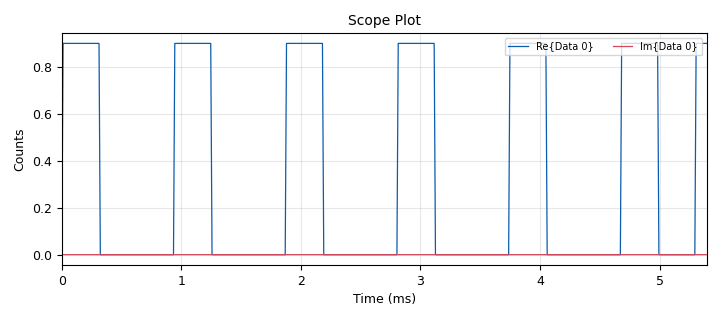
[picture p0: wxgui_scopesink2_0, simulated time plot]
<?xml version='1.0' encoding='utf-8'?>
<?grc format='1' created='3.7.7'?>
<flow_graph>
<block>
<key>options</key>
<param><key>id</key><value>ceiling_fan_tx</value></param>
<param><key>generate_options</key><value>wx_gui</value></param>
<param><key>category</key><value>Custom</value></param>
</block>
<block>
<key>variable</key>
<param><key>id</key><value>center_freq</value></param>
<param><key>value</key><value>303747000</value></param>
</block>
<block>
<key>variable</key>
<param><key>id</key><value>samp_rate</value></param>
<param><key>value</key><value>baud_rate*interp</value></param>
</block>
<block>
<key>variable</key>
<param><key>id</key><value>interp</value></param>
<param><key>value</key><value>600</value></param>
</block>
<block>
<key>variable</key>
<param><key>id</key><value>baud_rate</value></param>
<param><key>value</key><value>3211</value></param>
</block>
<block>
<key>variable_slider</key>
<param><key>id</key><value>gain</value></param>
<param><key>label</key><value></value></param>
<param><key>value</key><value>15</value></param>
<param><key>min</key><value>0</value></param>
<param><key>max</key><value>25</value></param>
<param><key>num_steps</key><value>50</value></param>
<param><key>style</key><value>wx.SL_HORIZONTAL</value></param>
<param><key>converver</key><value>float_converter</value></param>
</block>
<block>
<key>blocks_vector_source_x</key>
<param><key>id</key><value>blocks_vector_source_x_0</value></param>
<param><key>type</key><value>complex</value></param>
<param><key>vector</key><value>[1,0,1,1,0,1,1,0,0,1,0,1,1,0,0,1,0,0,1,0,0,1,0,0,1,0,0,1,0,0,1,0,0,1,0,1,1,0,0,0,0,0,0,0,0,0,0,0,0,0,0,0,0,0,0,0,0,0,0,0,0,0,0,0,0,0,0,0,0,0,0,0,0,0]*10 + [0]*3321</value></param>
<param><key>repeat</key><value>True</value></param>
</block>
<block>
<key>blocks_repeat</key>
<param><key>id</key><value>blocks_repeat_0</value></param>
<param><key>type</key><value>complex</value></param>
<param><key>interp</key><value>interp</value></param>
</block>
<block>
<key>osmosdr_sink</key>
<param><key>id</key><value>osmosdr_sink_0</value></param>
<param><key>_enabled</key><value>False</value></param>
<param><key>type</key><value>fc32</value></param>
<param><key>args</key><value></value></param>
<param><key>sync</key><value></value></param>
<param><key>sample_rate</key><value>samp_rate</value></param>
<param><key>freq0</key><value>center_freq</value></param>
<param><key>gain0</key><value>gain</value></param>
<param><key>if_gain0</key><value>20</value></param>
<param><key>bb_gain0</key><value>20</value></param>
<param><key>bw0</key><value>2000000</value></param>
</block>
<block>
<key>blocks_moving_average_xx</key>
<param><key>id</key><value>blocks_moving_average_xx_0</value></param>
<param><key>type</key><value>complex</value></param>
<param><key>length</key><value>20</value></param>
<param><key>scale</key><value>0.9/20</value></param>
<param><key>max_iter</key><value>4000</value></param>
</block>
<block>
<key>wxgui_scopesink2</key>
<param><key>id</key><value>wxgui_scopesink2_0</value></param>
<param><key>type</key><value>complex</value></param>
<param><key>title</key><value>Scope Plot</value></param>
<param><key>samp_rate</key><value>samp_rate</value></param>
<param><key>v_scale</key><value>0</value></param>
<param><key>v_offset</key><value>0</value></param>
<param><key>t_scale</key><value>0</value></param>
<param><key>ac_couple</key><value>False</value></param>
<param><key>xy_mode</key><value>False</value></param>
<param><key>num_inputs</key><value>1</value></param>
<param><key>trig_mode</key><value>wxgui.TRIG_MODE_AUTO</value></param>
<param><key>y_axis_label</key><value>Counts</value></param>
</block>
<connection><source_block_id>blocks_moving_average_xx_0</source_block_id><sink_block_id>osmosdr_sink_0</sink_block_id><source_key>0</source_key><sink_key>0</sink_key></connection>
<connection><source_block_id>blocks_repeat_0</source_block_id><sink_block_id>blocks_moving_average_xx_0</sink_block_id><source_key>0</source_key><sink_key>0</sink_key></connection>
<connection><source_block_id>blocks_vector_source_x_0</source_block_id><sink_block_id>blocks_repeat_0</sink_block_id><source_key>0</source_key><sink_key>0</sink_key></connection>
<connection><source_block_id>blocks_moving_average_xx_0</source_block_id><sink_block_id>wxgui_scopesink2_0</sink_block_id><source_key>0</source_key><sink_key>0</sink_key></connection>
</flow_graph>
